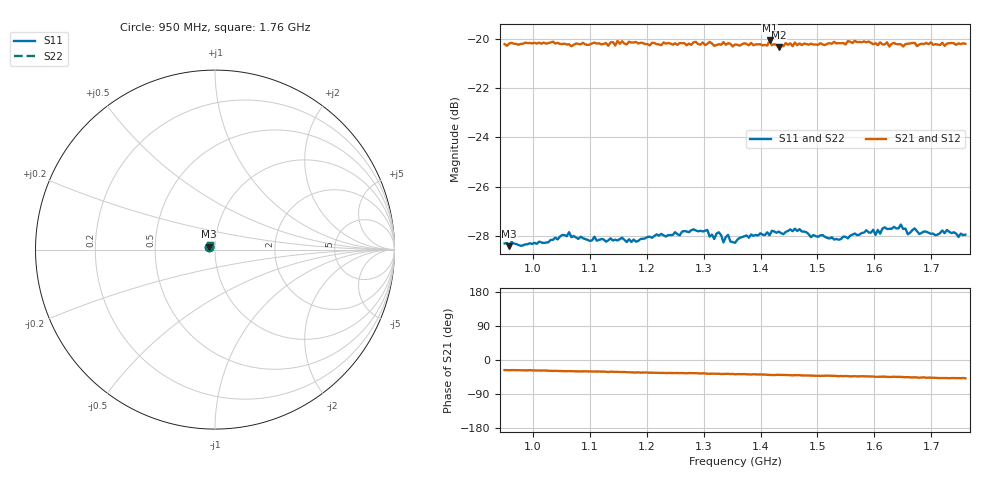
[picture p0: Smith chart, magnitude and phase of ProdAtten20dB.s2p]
# HZ S RI R 50
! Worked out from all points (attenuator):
!   201 points, 950 MHz to 1.76 GHz, reference 50 ohm
!   highest |S21| = -20.05 dB at 1.416 GHz (marker M1); lowest = -20.3 dB at 1.432 GHz (marker M2)
!   lowest |S11| = -28.4 dB at 958.1 MHz (marker M3), VSWR 1.08, Z = 46.7 + j1.55 ohm
!   |S11| at or under -10 dB: start of sweep to end of sweep
!   |S22| runs from -28.4 to -27.6 dB; largest |S21 - S12| = 0.0018
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9.5e8  -0.0348 0.0162  0.0873 -0.0438  0.0871 -0.0439  -0.0347 0.0162
9.581e8  -0.0341 0.0166  0.0872 -0.0446  0.0872 -0.0444  -0.0341 0.0167
1.02695e9  -0.0339 0.0185  0.0863 -0.0467  0.0866 -0.0465  -0.0339 0.0186
1.0634e9  -0.0355 0.0195  0.0852 -0.0477  0.0862 -0.0479  -0.0355 0.0191
1.0877e9  -0.0346 0.0188  0.0852 -0.049  0.0848 -0.0485  -0.0345 0.0188
1.17275e9  -0.033 0.0201  0.083 -0.0529  0.0826 -0.053  -0.0335 0.0199
1.22135e9  -0.0337 0.0212  0.0808 -0.0546  0.0805 -0.0545  -0.0335 0.0213
1.3064e9  -0.0345 0.0219  0.0788 -0.0579  0.0793 -0.0579  -0.0345 0.0219
1.31855e9  -0.0323 0.0222  0.0782 -0.0572  0.0778 -0.0575  -0.0333 0.0223
1.32665e9  -0.034 0.0219  0.0789 -0.0576  0.0791 -0.0584  -0.0332 0.022
1.3307e9  -0.0333 0.022  0.0779 -0.0585  0.0785 -0.0593  -0.034 0.0215
1.33475e9  -0.0321 0.0214  0.0789 -0.0591  0.079 -0.0593  -0.0321 0.0215
1.3388e9  -0.0328 0.0222  0.0781 -0.0582  0.0777 -0.0582  -0.0334 0.0224
1.355e9  -0.0317 0.0219  0.077 -0.0598  0.0772 -0.0591  -0.032 0.0219
1.41575e9  -0.0319 0.024  0.0769 -0.0629  0.0764 -0.062  -0.0322 0.0241
1.43195e9  -0.0325 0.0243  0.0746 -0.0608  0.0752 -0.0615  -0.0325 0.0241
1.4927e9  -0.032 0.0239  0.0732 -0.0644  0.0733 -0.0646  -0.0321 0.0238
1.53725e9  -0.0303 0.0246  0.0718 -0.0669  0.0728 -0.0668  -0.0304 0.0246
1.62635e9  -0.0311 0.027  0.0686 -0.068  0.0683 -0.069  -0.0309 0.0271
1.6466e9  -0.0321 0.0271  0.0694 -0.0687  0.0696 -0.0684  -0.0315 0.0266
1.65875e9  -0.0304 0.0261  0.0689 -0.0695  0.0675 -0.0702  -0.0304 0.0261
1.76e9  -0.0287 0.0279  0.0651 -0.073  0.0644 -0.0731  -0.0286 0.0281
